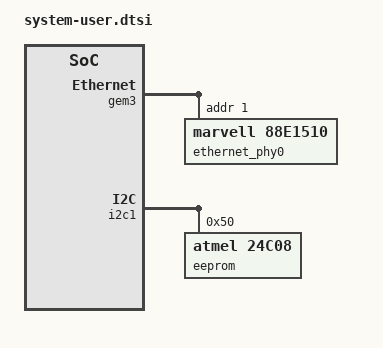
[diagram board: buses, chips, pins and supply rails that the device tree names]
/ {
	chosen {
		bootargs = " earlycon console=ttyPS0,115200 clk_ignore_unused root=/dev/ram0 rw net.ifnames=0 biosdevname=0 cma=1536M";
		stdout-path = "serial0:115200n8";
	};

	reserved-memory {
		#address-cells = <2>;
		#size-cells = <2>;
		ranges;

		cma_reserved: cma@0 {
			compatible = "shared-dma-pool";
			reusable;
			reg = <0x0 0x80000000 0x0 0x60000000>; /* 1.5 GB reserved at 2GB boundary */
			alignment = <0 0x1000>;
			no-map;
		};
	};
};
/*------------------ ETH PHY --------------------*/
/* ETH PHY */
&gem3 {
	status = "okay";
	nvmem-cells = <&mac_address>;
	nvmem-cell-names = "mac-address";
	ethernet_phy0: ethernet-phy@0 {
		compatible = "marvell,88e1510";
		device_type = "ethernet-phy";
		reg = <1>;
	};
};
/*------------------ SD --------------------*/
/* SDIO */
&sdhci1 {
	disable-wp;
	no-1-8-v;
};
/*------------------ I2C --------------------*/
&i2c1 {
	eeprom: eeprom@50 {
		#address-cells = <1>;
		#size-cells = <1>;
		compatible = "atmel,24c08";
		reg = <0x50>;
		mac_address: mac-address@FA {
			reg = <0xFA 6>;
		};
	};
};
/ {
	axi_stream_dma_0@b0000000 {
		compatible = "axi_stream_dma";
		reg = <0x0 0xb0000000 0x0 0x10000>;
		interrupts = <0 89 4>;
		interrupt-parent = <&gic>;
	};
	usp_rf_data_converter@490000000 {
		compatible = "xlnx,usp-rf-data-converter-2.6";
		num-insts = <0x1>;
		param-list = [ ];
		reg = <0x4 0x90000000 0x0 0x40000>;
	};
};
